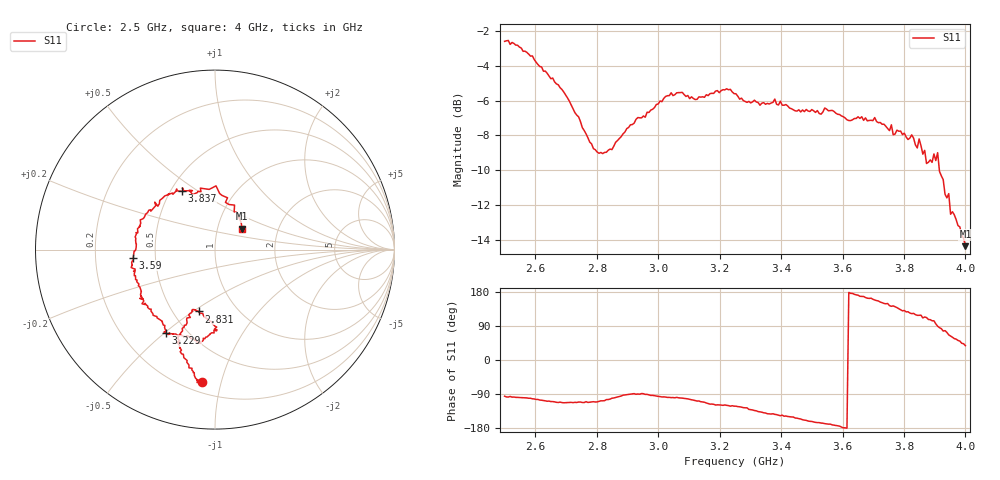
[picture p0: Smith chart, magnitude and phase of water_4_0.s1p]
# MHz S MA R 50
!  freq  S11
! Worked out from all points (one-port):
!   250 points, 2.5 GHz to 4 GHz, reference 50 ohm
!   lowest |S11| = -14.4 dB at 4 GHz (marker M1), VSWR 1.47, Z = 65.6 + j15.9 ohm
!   |S11| at or under -10 dB: 3.915 GHz to end of sweep
!   S11 on the Smith chart (normalised r, x): 2.5 GHz: 0.26, -0.87; 2.831 GHz: 0.67, -0.53; 3.229 GHz: 0.39, -0.51; 3.59 GHz: 0.37, -0.04; 3.837 GHz: 0.57, +0.43; 4 GHz: 1.31, +0.32
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2500  0.7428 -95.5
2590.361  0.6746 -102.4
2692.771  0.5305 -112.9
2777.108  0.3808 -111.3
2831.325  0.356 -104.5
2879.518  0.395 -95.0
2945.783  0.4472 -88.5
3066.265  0.5288 -99.8
3186.747  0.5342 -118.8
3228.916  0.5389 -120.4
3253.012  0.5247 -121.9
3379.518  0.5066 -143.4
3439.759  0.472 -150.4
3590.361  0.4573 -174.5
3626.506  0.4393 175.9
3704.819  0.4482 158.4
3746.988  0.4167 149.1
3759.036  0.4271 141.7
3813.253  0.3874 127.3
3837.349  0.374 119.7
3849.398  0.389 117.9
3873.494  0.3304 112.0
3897.59  0.352 103.4
3909.639  0.355 89.1
3933.735  0.2695 77.5
3945.783  0.2706 66.3
3951.807  0.2361 63.1
4000  0.191 37.9
